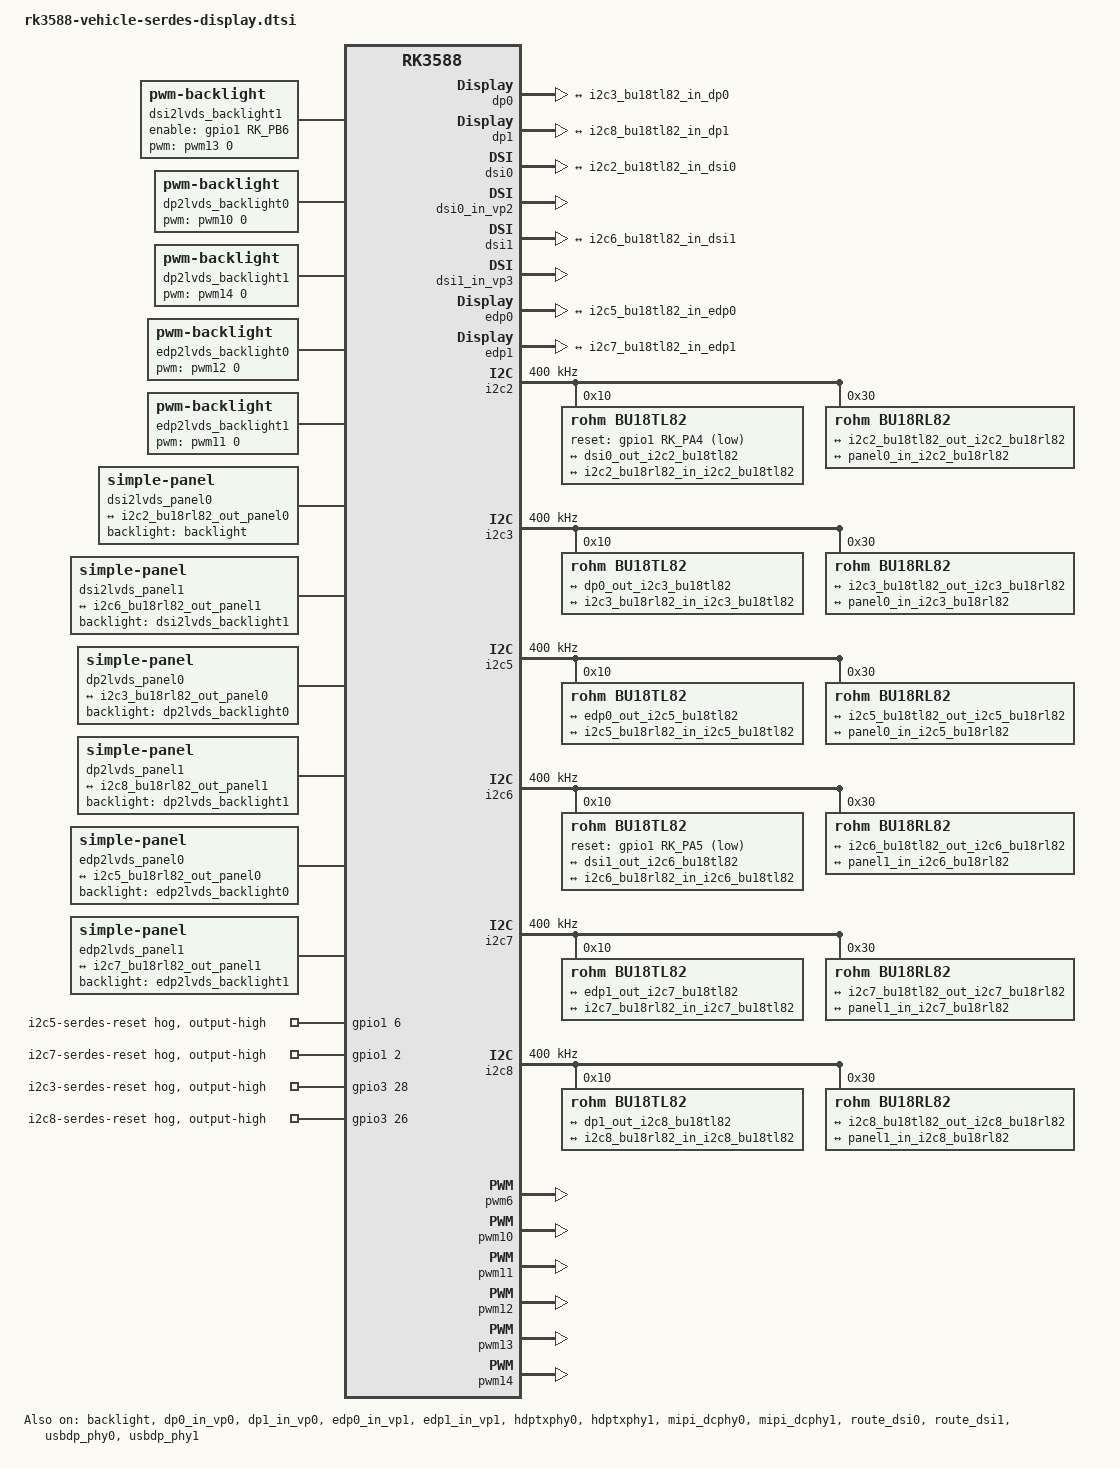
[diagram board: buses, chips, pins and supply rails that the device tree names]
// SPDX-License-Identifier: (GPL-2.0+ OR MIT)
/*
 * Copyright (c) 2022 Rockchip Electronics Co., Ltd.
 *
 */

/ {
	dsi2lvds_backlight1: dsi2lvds_backlight1 {
		compatible = "pwm-backlight";
		brightness-levels = <
			  0  20  20  21  21  22  22  23
			 23  24  24  25  25  26  26  27
			 27  28  28  29  29  30  30  31
			 31  32  32  33  33  34  34  35
			 35  36  36  37  37  38  38  39
			 40  41  42  43  44  45  46  47
			 48  49  50  51  52  53  54  55
			 56  57  58  59  60  61  62  63
			 64  65  66  67  68  69  70  71
			 72  73  74  75  76  77  78  79
			 80  81  82  83  84  85  86  87
			 88  89  90  91  92  93  94  95
			 96  97  98  99 100 101 102 103
			104 105 106 107 108 109 110 111
			112 113 114 115 116 117 118 119
			120 121 122 123 124 125 126 127
			128 129 130 131 132 133 134 135
			136 137 138 139 140 141 142 143
			144 145 146 147 148 149 150 151
			152 153 154 155 156 157 158 159
			160 161 162 163 164 165 166 167
			168 169 170 171 172 173 174 175
			176 177 178 179 180 181 182 183
			184 185 186 187 188 189 190 191
			192 193 194 195 196 197 198 199
			200 201 202 203 204 205 206 207
			208 209 210 211 212 213 214 215
			216 217 218 219 220 221 222 223
			224 225 226 227 228 229 230 231
			232 233 234 235 236 237 238 239
			240 241 242 243 244 245 246 247
			248 249 250 251 252 253 254 255
		>;
		default-brightness-level = <200>;
	};

	dp2lvds_backlight0: dp2lvds_backlight0 {
		compatible = "pwm-backlight";
		brightness-levels = <
			  0  20  20  21  21  22  22  23
			 23  24  24  25  25  26  26  27
			 27  28  28  29  29  30  30  31
			 31  32  32  33  33  34  34  35
			 35  36  36  37  37  38  38  39
			 40  41  42  43  44  45  46  47
			 48  49  50  51  52  53  54  55
			 56  57  58  59  60  61  62  63
			 64  65  66  67  68  69  70  71
			 72  73  74  75  76  77  78  79
			 80  81  82  83  84  85  86  87
			 88  89  90  91  92  93  94  95
			 96  97  98  99 100 101 102 103
			104 105 106 107 108 109 110 111
			112 113 114 115 116 117 118 119
			120 121 122 123 124 125 126 127
			128 129 130 131 132 133 134 135
			136 137 138 139 140 141 142 143
			144 145 146 147 148 149 150 151
			152 153 154 155 156 157 158 159
			160 161 162 163 164 165 166 167
			168 169 170 171 172 173 174 175
			176 177 178 179 180 181 182 183
			184 185 186 187 188 189 190 191
			192 193 194 195 196 197 198 199
			200 201 202 203 204 205 206 207
			208 209 210 211 212 213 214 215
			216 217 218 219 220 221 222 223
			224 225 226 227 228 229 230 231
			232 233 234 235 236 237 238 239
			240 241 242 243 244 245 246 247
			248 249 250 251 252 253 254 255
		>;
		default-brightness-level = <200>;
	};

	dp2lvds_backlight1: dp2lvds_backlight1 {
		compatible = "pwm-backlight";
		brightness-levels = <
			  0  20  20  21  21  22  22  23
			 23  24  24  25  25  26  26  27
			 27  28  28  29  29  30  30  31
			 31  32  32  33  33  34  34  35
			 35  36  36  37  37  38  38  39
			 40  41  42  43  44  45  46  47
			 48  49  50  51  52  53  54  55
			 56  57  58  59  60  61  62  63
			 64  65  66  67  68  69  70  71
			 72  73  74  75  76  77  78  79
			 80  81  82  83  84  85  86  87
			 88  89  90  91  92  93  94  95
			 96  97  98  99 100 101 102 103
			104 105 106 107 108 109 110 111
			112 113 114 115 116 117 118 119
			120 121 122 123 124 125 126 127
			128 129 130 131 132 133 134 135
			136 137 138 139 140 141 142 143
			144 145 146 147 148 149 150 151
			152 153 154 155 156 157 158 159
			160 161 162 163 164 165 166 167
			168 169 170 171 172 173 174 175
			176 177 178 179 180 181 182 183
			184 185 186 187 188 189 190 191
			192 193 194 195 196 197 198 199
			200 201 202 203 204 205 206 207
			208 209 210 211 212 213 214 215
			216 217 218 219 220 221 222 223
			224 225 226 227 228 229 230 231
			232 233 234 235 236 237 238 239
			240 241 242 243 244 245 246 247
			248 249 250 251 252 253 254 255
		>;
		default-brightness-level = <200>;
	};

	edp2lvds_backlight0: edp2lvds_backlight0 {
		compatible = "pwm-backlight";
		brightness-levels = <
			  0  20  20  21  21  22  22  23
			 23  24  24  25  25  26  26  27
			 27  28  28  29  29  30  30  31
			 31  32  32  33  33  34  34  35
			 35  36  36  37  37  38  38  39
			 40  41  42  43  44  45  46  47
			 48  49  50  51  52  53  54  55
			 56  57  58  59  60  61  62  63
			 64  65  66  67  68  69  70  71
			 72  73  74  75  76  77  78  79
			 80  81  82  83  84  85  86  87
			 88  89  90  91  92  93  94  95
			 96  97  98  99 100 101 102 103
			104 105 106 107 108 109 110 111
			112 113 114 115 116 117 118 119
			120 121 122 123 124 125 126 127
			128 129 130 131 132 133 134 135
			136 137 138 139 140 141 142 143
			144 145 146 147 148 149 150 151
			152 153 154 155 156 157 158 159
			160 161 162 163 164 165 166 167
			168 169 170 171 172 173 174 175
			176 177 178 179 180 181 182 183
			184 185 186 187 188 189 190 191
			192 193 194 195 196 197 198 199
			200 201 202 203 204 205 206 207
			208 209 210 211 212 213 214 215
			216 217 218 219 220 221 222 223
			224 225 226 227 228 229 230 231
			232 233 234 235 236 237 238 239
			240 241 242 243 244 245 246 247
			248 249 250 251 252 253 254 255
		>;
		default-brightness-level = <200>;
	};

	edp2lvds_backlight1: edp2lvds_backlight1 {
		compatible = "pwm-backlight";
		brightness-levels = <
			  0  20  20  21  21  22  22  23
			 23  24  24  25  25  26  26  27
			 27  28  28  29  29  30  30  31
			 31  32  32  33  33  34  34  35
			 35  36  36  37  37  38  38  39
			 40  41  42  43  44  45  46  47
			 48  49  50  51  52  53  54  55
			 56  57  58  59  60  61  62  63
			 64  65  66  67  68  69  70  71
			 72  73  74  75  76  77  78  79
			 80  81  82  83  84  85  86  87
			 88  89  90  91  92  93  94  95
			 96  97  98  99 100 101 102 103
			104 105 106 107 108 109 110 111
			112 113 114 115 116 117 118 119
			120 121 122 123 124 125 126 127
			128 129 130 131 132 133 134 135
			136 137 138 139 140 141 142 143
			144 145 146 147 148 149 150 151
			152 153 154 155 156 157 158 159
			160 161 162 163 164 165 166 167
			168 169 170 171 172 173 174 175
			176 177 178 179 180 181 182 183
			184 185 186 187 188 189 190 191
			192 193 194 195 196 197 198 199
			200 201 202 203 204 205 206 207
			208 209 210 211 212 213 214 215
			216 217 218 219 220 221 222 223
			224 225 226 227 228 229 230 231
			232 233 234 235 236 237 238 239
			240 241 242 243 244 245 246 247
			248 249 250 251 252 253 254 255
		>;
		default-brightness-level = <200>;
	};

	dsi2lvds_panel0 {
		compatible = "simple-panel";
		backlight = <&backlight>;

		display-timings {
			native-mode = <&dsi2lvds0>;
			dsi2lvds0: timing0 {
				clock-frequency = <87000000>;
				hactive = <1920>;
				vactive = <720>;
				hfront-porch = <32>;
				hsync-len = <10>;
				hback-porch = <22>;
				vfront-porch = <10>;
				vsync-len = <4>;
				vback-porch = <7>;
				hsync-active = <0>;
				vsync-active = <0>;
				de-active = <0>;
				pixelclk-active = <0>;
			};
		};

		ports {
			#address-cells = <1>;
			#size-cells = <0>;

			port@0 {
				reg = <0>;
				panel0_in_i2c2_bu18rl82: endpoint {
					remote-endpoint = <&i2c2_bu18rl82_out_panel0>;
				};
			};
		};
	};

	dsi2lvds_panel1 {
		compatible = "simple-panel";
		backlight = <&dsi2lvds_backlight1>;

		display-timings {
			native-mode = <&dsi2lvds1>;
			dsi2lvds1: timing0 {
				clock-frequency = <87000000>;
				hactive = <1920>;
				vactive = <720>;
				hfront-porch = <32>;
				hsync-len = <10>;
				hback-porch = <22>;
				vfront-porch = <10>;
				vsync-len = <4>;
				vback-porch = <7>;
				hsync-active = <0>;
				vsync-active = <0>;
				de-active = <0>;
				pixelclk-active = <0>;
			};
		};

		ports {
			#address-cells = <1>;
			#size-cells = <0>;

			port@0 {
				reg = <0>;
				panel1_in_i2c6_bu18rl82: endpoint {
					remote-endpoint = <&i2c6_bu18rl82_out_panel1>;
				};
			};
		};
	};

	dp2lvds_panel0 {
		compatible = "simple-panel";
		backlight = <&dp2lvds_backlight0>;
		prepare-delay-ms = <120>;
		enable-delay-ms = <120>;
		unprepare-delay-ms = <120>;
		disable-delay-ms = <120>;
		status = "okay";

		panel-timing {
			clock-frequency = <148500000>;
			hactive = <1920>;
			vactive = <1080>;
			hfront-porch = <140>;
			hsync-len = <40>;
			hback-porch = <100>;
			vfront-porch = <15>;
			vsync-len = <20>;
			vback-porch = <10>;
			hsync-active = <0>;
			vsync-active = <0>;
			de-active = <0>;
			pixelclk-active = <0>;
		};

		port {
			panel0_in_i2c3_bu18rl82: endpoint {
				remote-endpoint = <&i2c3_bu18rl82_out_panel0>;
			};
		};
	};

	dp2lvds_panel1 {
		compatible = "simple-panel";
		backlight = <&dp2lvds_backlight1>;
		prepare-delay-ms = <120>;
		enable-delay-ms = <120>;
		unprepare-delay-ms = <120>;
		disable-delay-ms = <120>;
		status = "okay";

		panel-timing {
			clock-frequency = <148500000>;
			hactive = <1920>;
			vactive = <1080>;
			hfront-porch = <140>;
			hsync-len = <40>;
			hback-porch = <100>;
			vfront-porch = <15>;
			vsync-len = <20>;
			vback-porch = <10>;
			hsync-active = <0>;
			vsync-active = <0>;
			de-active = <0>;
			pixelclk-active = <0>;
		};

		port {
			panel1_in_i2c8_bu18rl82: endpoint {
				remote-endpoint = <&i2c8_bu18rl82_out_panel1>;
			};
		};
	};

	edp2lvds_panel0 {
		compatible = "simple-panel";
		backlight = <&edp2lvds_backlight0>;
		prepare-delay-ms = <120>;
		enable-delay-ms = <120>;
		unprepare-delay-ms = <120>;
		disable-delay-ms = <120>;
		status = "okay";

		panel-timing {
			clock-frequency = <148500000>;
			hactive = <1920>;
			vactive = <1080>;
			hfront-porch = <140>;
			hsync-len = <40>;
			hback-porch = <100>;
			vfront-porch = <15>;
			vsync-len = <20>;
			vback-porch = <10>;
			hsync-active = <0>;
			vsync-active = <0>;
			de-active = <0>;
			pixelclk-active = <0>;
		};

		port {
			panel0_in_i2c5_bu18rl82: endpoint {
				remote-endpoint = <&i2c5_bu18rl82_out_panel0>;
			};
		};
	};

	edp2lvds_panel1 {
		compatible = "simple-panel";
		backlight = <&edp2lvds_backlight1>;
		prepare-delay-ms = <120>;
		enable-delay-ms = <120>;
		unprepare-delay-ms = <120>;
		disable-delay-ms = <120>;
		status = "okay";

		panel-timing {
			clock-frequency = <148500000>;
			hactive = <1920>;
			vactive = <1080>;
			hfront-porch = <140>;
			hsync-len = <40>;
			hback-porch = <100>;
			vfront-porch = <15>;
			vsync-len = <20>;
			vback-porch = <10>;
			hsync-active = <0>;
			vsync-active = <0>;
			de-active = <0>;
			pixelclk-active = <0>;
		};

		port {
			panel1_in_i2c7_bu18rl82: endpoint {
				remote-endpoint = <&i2c7_bu18rl82_out_panel1>;
			};
		};
	};
};

&backlight {
	pwms = <&pwm6 0 25000 0>;
	pinctrl-names = "default";
	pinctrl-0 = <&blk_enable_gpio>;
	enable-gpios = <&gpio1 RK_PA7 GPIO_ACTIVE_HIGH>;
	status = "okay";
};

&dsi2lvds_backlight1 {
	pwms = <&pwm13 0 25000 0>;
	pinctrl-names = "default";
	pinctrl-0 = <&blk1_enable_gpio>;
	enable-gpios = <&gpio1 RK_PB6 GPIO_ACTIVE_HIGH>;
	status = "okay";
};

&dp0 {
	split-mode;
	force-hpd;
	status = "okay";

	ports {
		port@1 {
			reg = <1>;

			dp0_out_i2c3_bu18tl82: endpoint {
				remote-endpoint = <&i2c3_bu18tl82_in_dp0>;
			};
		};
	};
};

&dp0_in_vp0 {
	status = "okay";
};

&dp0_in_vp1 {
	status = "disabled";
};

&dp0_in_vp2 {
	status = "disabled";
};

&dp1 {
	force-hpd;
	status = "okay";

	ports {
		port@1 {
			reg = <1>;

			dp1_out_i2c8_bu18tl82: endpoint {
				remote-endpoint = <&i2c8_bu18tl82_in_dp1>;
			};
		};
	};
};

&dp1_in_vp0 {
	status = "okay";
};

&dp1_in_vp1 {
	status = "disabled";
};

&dp1_in_vp2 {
	status = "disabled";
};

&dp2lvds_backlight0 {
	pwms = <&pwm10 0 25000 0>;
	status = "okay";
};

&dp2lvds_backlight1 {
	pwms = <&pwm14 0 25000 0>;
	status = "okay";
};

/*
 * mipi_dcphy0 needs to be enabled
 * when dsi0 is enabled
 */
&dsi0 {
	status = "okay";

	ports {
		#address-cells = <1>;
		#size-cells = <0>;

		port@1 {
			reg = <1>;

			dsi0_out_i2c2_bu18tl82: endpoint {
				remote-endpoint = <&i2c2_bu18tl82_in_dsi0>;
			};
		};
	};
};

&dsi0_in_vp2 {
	status = "okay";
};

&dsi0_in_vp3 {
	status = "disabled";
};

/*
 * mipi_dcphy1 needs to be enabled
 * when dsi1 is enabled
 */
&dsi1 {
	status = "okay";

	ports {
		#address-cells = <1>;
		#size-cells = <0>;

		port@1 {
			reg = <1>;

			dsi1_out_i2c6_bu18tl82: endpoint {
				remote-endpoint = <&i2c6_bu18tl82_in_dsi1>;
			};
		};
	};
};

&dsi1_in_vp2 {
	status = "disabled";
};

&dsi1_in_vp3 {
	status = "okay";
};

&edp0 {
	split-mode;
	force-hpd;
	status = "okay";

	ports {
		port@1 {
			reg = <1>;

			edp0_out_i2c5_bu18tl82: endpoint {
				remote-endpoint = <&i2c5_bu18tl82_in_edp0>;
			};
		};
	};
};

&edp0_in_vp0 {
	status = "disabled";
};

&edp0_in_vp1 {
	status = "okay";
};

&edp0_in_vp2 {
	status = "disabled";
};

&edp1 {
	force-hpd;
	status = "okay";

	ports {
		port@1 {
			reg = <1>;

			edp1_out_i2c7_bu18tl82: endpoint {
				remote-endpoint = <&i2c7_bu18tl82_in_edp1>;
			};
		};
	};
};

&edp1_in_vp0 {
	status = "disabled";
};

&edp1_in_vp1 {
	status = "okay";
};

&edp1_in_vp2 {
	status = "disabled";
};

&edp2lvds_backlight0 {
	pwms = <&pwm12 0 25000 0>;
	status = "okay";
};

&edp2lvds_backlight1 {
	pwms = <&pwm11 0 25000 0>;
	status = "okay";
};

&gpio1 {
	i2c5-serdes-reset {
		gpio-hog;
		gpios = <6 GPIO_ACTIVE_HIGH>;
		output-high;
	};

	i2c7-serdes-reset {
		gpio-hog;
		gpios = <2 GPIO_ACTIVE_HIGH>;
		output-high;
	};
};

&gpio3 {
	i2c3-serdes-reset {
		gpio-hog;
		gpios = <28 GPIO_ACTIVE_HIGH>;
		output-high;
	};

	i2c8-serdes-reset {
		gpio-hog;
		gpios = <26 GPIO_ACTIVE_HIGH>;
		output-high;
	};
};

&hdmi0 {
	status = "disabled";
};

&hdmi1 {
	status = "disabled";
};

&hdptxphy0 {
	status = "okay";
};

&hdptxphy1 {
	status = "okay";
};

&hdptxphy_hdmi0 {
	status = "disabled";
};

&hdptxphy_hdmi1 {
	status = "disabled";
};

&i2c2 {
	status = "okay";
	pinctrl-names = "default";
	pinctrl-0 = <&i2c2m4_xfer>;
	clock-frequency = <400000>;

	bu18tl82: bu18tl82@10 {
		compatible = "rohm,bu18tl82";
		reg = <0x10>;
		pinctrl-names = "default";
		pinctrl-0 = <&ser0_rst_gpio>;
		reset-gpios = <&gpio1 RK_PA4 GPIO_ACTIVE_LOW>;
		sel-mipi;
		status = "okay";

		serdes-init-sequence = [
			0021 0008
			0022 0008
			0023 0009
			0024 000a
			0013 0010
			0014 0010
			002a 0018
			002d 0018
			0030 0018
			0033 0018
			02a7 0002
			02a8 0003
			02a9 0004
			02aa 0005
			0045 0080
			0046 0007
			0047 0080
			0048 0007
			004b 00d0
			004c 0002
			004d 00d0
			004e 0002
			0051 0080
			0052 0007
			0053 0000
			0054 00c0
			022b 0076
			022c 0062
			022d 0037
			024d 0061
			0252 0005
			0253 0000
			0258 0000
			025c 0000
			025f 0000
			0274 0030
			0275 0020
			032b 002f
			032c 00a1
			032d 001d
			034d 0060
			0353 0000
			0358 0000
			035c 0000
			035f 0000
			0018 00a5
			0019 0069
			0267 003d
			0268 002c
			0269 002c
			026a 002c
			026b 002c
			0367 003d
			0368 002c
			0369 002c
			036a 002c
			036b 002c
			0013 0019
			0014 0001
			022e 0080
			0296 0004
			0297 000d
			032e 0080
			038e 0000
			0396 0004
			0397 000a
			0060 0001
			0061 0001
			0018 0000
			0019 0000
			/* TL82 Pattern Gen Set 1
			 * Horizontal Gray Scale 256 steps
			 */
			040A 0010
			040B 0080
			040C 0080
			040D 0080
			0444 0019
			0445 0020
			0446 001f
		];

		ports {
			#address-cells = <1>;
			#size-cells = <0>;

			port@0 {
				reg = <0>;

				i2c2_bu18tl82_in_dsi0: endpoint {
					remote-endpoint = <&dsi0_out_i2c2_bu18tl82>;
				};
			};

			port@1 {
				reg = <1>;

				i2c2_bu18tl82_out_i2c2_bu18rl82: endpoint {
					remote-endpoint = <&i2c2_bu18rl82_in_i2c2_bu18tl82>;
				};
			};
		};
	};

	bu18rl82: bu18rl82@30 {
		compatible = "rohm,bu18rl82";
		reg = <0x30>;
		status = "okay";
		serdes-init-sequence = [
			0011 000b
			0012 0002
			0013 0001
			001d 0008
			001f 0006
			0020 0006
			0057 0000
			0058 0002
			005a 0000
			005b 0003
			005d 0000
			005e 0001
			0060 0000
			0061 0005
			0073 0080
			0074 0007
			0075 0080
			0076 0007
			0079 0009
			007b 00d0
			007c 0002
			007d 00d0
			007e 0002
			0081 0003
			0082 000a
			0084 001e
			0086 0001
			0087 0003
			0088 0005
			0089 0014
			008b 0028
			008d 0002
			008e 0004
			008f 000f
			0090 0001
			0091 0003
			0423 00ab
			0424 00aa
			0425 001a
			0429 000a
			045d 0001
			0523 0097
			0524 00d0
			0525 000e
			0529 000a
			055d 0001
			0426 0080
			0526 0080
			/* RL82 Pattern Gen Set
			 * Vertical Gray Scale Color Bar
			 */
			060A 00B0
			060B 00FF
			060C 00FF
			060D 00FF
			0644 0019
			0645 0020
			0646 001f
		];

		ports {
			#address-cells = <1>;
			#size-cells = <0>;

			port@0 {
				reg = <0>;

				i2c2_bu18rl82_in_i2c2_bu18tl82: endpoint {
					remote-endpoint = <&i2c2_bu18tl82_out_i2c2_bu18rl82>;
				};
			};

			port@1 {
				reg = <1>;

				i2c2_bu18rl82_out_panel0: endpoint {
					remote-endpoint = <&panel0_in_i2c2_bu18rl82>;
				};
			};
		};
	};
};

&i2c3 {
	pinctrl-names = "default";
	pinctrl-0 = <&i2c3m2_xfer>;
	clock-frequency = <400000>;
	status = "okay";

	bu18tl82@10 {
		compatible = "rohm,bu18tl82";
		reg = <0x10>;
		status = "okay";

		serdes-init-sequence = [
			0013 001a
			0014 000a
			0021 0008
			0023 0003
			0024 0003
			002a 0018
			002d 0018
			0030 0018
			0033 0018
			0045 0080
			0046 0007
			004b 0038
			004c 0004
			0053 0064
			022b 0062
			022c 0027
			022d 002e
			0274 0030
			0275 0020
			0296 0004
			0297 000d
			02b2 00c8
			02b4 0001
			02b8 00ff
			02b9 000f
			02ba 00ff
			02bb 000f
			02be 00ff
			02bf 001f
			02c2 00ff
			02c3 001f
			0396 0004
			0397 000d
			03b2 00c8
			03b4 0001
			03b8 00ff
			03b9 000f
			03ba 00ff
			03bb 000f
			03be 00ff
			03bf 001f
			03c2 00ff
			03c3 001f
			0060 0001
			0061 0003
			022e 0080
			032e 0080
			/* TL82 Pattern Gen Set 1
			 * Horizontal Gray Scale 256 steps
			 */
			040A 0010
			040B 0080
			040C 0080
			040D 0080
			0444 0019
			0445 0020
			0446 001f
		];

		ports {
			#address-cells = <1>;
			#size-cells = <0>;

			port@0 {
				reg = <0>;

				i2c3_bu18tl82_in_dp0: endpoint {
					remote-endpoint = <&dp0_out_i2c3_bu18tl82>;
				};
			};

			port@1 {
				reg = <1>;

				i2c3_bu18tl82_out_i2c3_bu18rl82: endpoint {
					remote-endpoint = <&i2c3_bu18rl82_in_i2c3_bu18tl82>;
				};
			};
		};
	};

	bu18rl82@30 {
		compatible = "rohm,bu18rl82";
		reg = <0x30>;
		status = "okay";
		serdes-init-sequence = [
			0011 000b
			0012 0003
			0013 0001
			001d 0008
			001f 0002
			0020 0002
			0057 0000
			0058 0002
			005a 0000
			005b 0003
			005d 0000
			005e 0004
			0060 0000
			0061 0005
			0073 0080
			0074 0007
			0079 000a
			007b 0038
			007c 0004
			0081 0003
			0082 0010
			0084 0020
			0086 0002
			0087 0002
			0088 0010
			0089 0010
			008b 0020
			008d 0002
			008e 0002
			008f 0010
			00d0 0040
			00d8 0042
			00d9 0004
			0423 0002
			0424 00ec
			0425 0027
			0429 000a
			045d 0001
			0529 000a
			055d 0003
			0090 0001
			0091 0003
			0426 0080
			/* RL82 Pattern Gen Set
			 * Vertical Gray Scale Color Bar
			 */
			060A 00B0
			060B 00FF
			060C 00FF
			060D 00FF
			0644 0019
			0645 0020
			0646 001f
		];

		ports {
			#address-cells = <1>;
			#size-cells = <0>;

			port@0 {
				reg = <0>;

				i2c3_bu18rl82_in_i2c3_bu18tl82: endpoint {
					remote-endpoint = <&i2c3_bu18tl82_out_i2c3_bu18rl82>;
				};
			};

			port@1 {
				reg = <1>;

				i2c3_bu18rl82_out_panel0: endpoint {
					remote-endpoint = <&panel0_in_i2c3_bu18rl82>;
				};
			};
		};
	};
};

&i2c5 {
	clock-frequency = <400000>;
	status = "okay";

	bu18tl82@10 {
		compatible = "rohm,bu18tl82";
		reg = <0x10>;
		status = "okay";

		serdes-init-sequence = [
			0013 001a
			0014 000a
			0021 0008
			0023 0003
			0024 0003
			002a 0018
			002d 0018
			0030 0018
			0033 0018
			0045 0080
			0046 0007
			004b 0038
			004c 0004
			0053 0064
			022b 0062
			022c 0027
			022d 002e
			0274 0030
			0275 0020
			0296 0004
			0297 000d
			02b2 00c8
			02b4 0001
			02b8 00ff
			02b9 000f
			02ba 00ff
			02bb 000f
			02be 00ff
			02bf 001f
			02c2 00ff
			02c3 001f
			0396 0004
			0397 000d
			03b2 00c8
			03b4 0001
			03b8 00ff
			03b9 000f
			03ba 00ff
			03bb 000f
			03be 00ff
			03bf 001f
			03c2 00ff
			03c3 001f
			0060 0001
			0061 0003
			022e 0080
			032e 0080
			/* TL82 Pattern Gen Set 1
			 * Horizontal Gray Scale 256 steps
			 */
			040A 0010
			040B 0080
			040C 0080
			040D 0080
			0444 0019
			0445 0020
			0446 001f
		];

		ports {
			#address-cells = <1>;
			#size-cells = <0>;

			port@0 {
				reg = <0>;

				i2c5_bu18tl82_in_edp0: endpoint {
					remote-endpoint = <&edp0_out_i2c5_bu18tl82>;
				};
			};

			port@1 {
				reg = <1>;

				i2c5_bu18tl82_out_i2c5_bu18rl82: endpoint {
					remote-endpoint = <&i2c5_bu18rl82_in_i2c5_bu18tl82>;
				};
			};
		};
	};

	bu18rl82@30 {
		compatible = "rohm,bu18rl82";
		reg = <0x30>;
		status = "okay";
		serdes-init-sequence = [
			0011 000b
			0012 0003
			0013 0001
			001d 0008
			001f 0002
			0020 0002
			0057 0000
			0058 0002
			005a 0000
			005b 0003
			005d 0000
			005e 0004
			0060 0000
			0061 0005
			0073 0080
			0074 0007
			0079 000a
			007b 0038
			007c 0004
			0081 0003
			0082 0010
			0084 0020
			0086 0002
			0087 0002
			0088 0010
			0089 0010
			008b 0020
			008d 0002
			008e 0002
			008f 0010
			00d0 0040
			00d8 0042
			00d9 0004
			0423 0002
			0424 00ec
			0425 0027
			0429 000a
			045d 0001
			0529 000a
			055d 0003
			0090 0001
			0091 0003
			0426 0080
			/* RL82 Pattern Gen Set
			 * Vertical Gray Scale Color Bar
			 */
			060A 00B0
			060B 00FF
			060C 00FF
			060D 00FF
			0644 0019
			0645 0020
			0646 001f
		];

		ports {
			#address-cells = <1>;
			#size-cells = <0>;

			port@0 {
				reg = <0>;

				i2c5_bu18rl82_in_i2c5_bu18tl82: endpoint {
					remote-endpoint = <&i2c5_bu18tl82_out_i2c5_bu18rl82>;
				};
			};

			port@1 {
				reg = <1>;

				i2c5_bu18rl82_out_panel0: endpoint {
					remote-endpoint = <&panel0_in_i2c5_bu18rl82>;
				};
			};
		};
	};
};

&i2c6 {
	status = "okay";
	pinctrl-names = "default";
	pinctrl-0 = <&i2c6m3_xfer>;
	clock-frequency = <400000>;

	bu18tl82@10 {
		compatible = "rohm,bu18tl82";
		reg = <0x10>;
		pinctrl-names = "default";
		pinctrl-0 = <&ser1_rst_gpio>;
		reset-gpios = <&gpio1 RK_PA5 GPIO_ACTIVE_LOW>;
		sel-mipi;
		status = "okay";
		serdes-init-sequence = [
			0021 0008
			0022 0008
			0023 0009
			0024 000a
			0013 0010
			0014 0010
			002a 0018
			002d 0018
			0030 0018
			0033 0018
			027c 0070
			027d 0070
			02a7 0002
			02a8 0003
			02a9 0004
			02aa 0005
			0045 0080
			0046 0007
			0047 0080
			0048 0007
			004b 00d0
			004c 0002
			004d 00d0
			004e 0002
			0051 0080
			0052 0007
			0053 0000
			0054 00c0
			022b 0076
			022c 0062
			022d 0037
			024d 0061
			0252 0005
			0253 0000
			0258 0000
			025c 0000
			025f 0000
			0274 0030
			0275 0020
			032b 002f
			032c 00a1
			032d 001d
			034d 0060
			0353 0000
			0358 0000
			035c 0000
			035f 0000
			0018 00a5
			0019 0069
			0267 003d
			0268 002c
			0269 002c
			026a 002c
			026b 002c
			0367 003d
			0368 002c
			0369 002c
			036a 002c
			036b 002c
			0013 0019
			0014 0001
			022e 0080
			0296 0004
			0297 000d
			032e 0080
			038e 0000
			0396 0004
			0397 000a
			0060 0001
			0061 0001
			0018 0000
			0019 0000
			/* TL82 Pattern Gen Set 1
			 * Horizontal Gray Scale 256 steps
			 */
			040A 0010
			040B 0080
			040C 0080
			040D 0080
			0444 0019
			0445 0020
			0446 001f
		];

		ports {
			#address-cells = <1>;
			#size-cells = <0>;

			port@0 {
				reg = <0>;

				i2c6_bu18tl82_in_dsi1: endpoint {
					remote-endpoint = <&dsi1_out_i2c6_bu18tl82>;
				};
			};

			port@1 {
				reg = <1>;

				i2c6_bu18tl82_out_i2c6_bu18rl82: endpoint {
					remote-endpoint = <&i2c6_bu18rl82_in_i2c6_bu18tl82>;
				};
			};
		};
	};

	bu18rl82@30 {
		compatible = "rohm,bu18rl82";
		reg = <0x30>;
		status = "okay";
		serdes-init-sequence = [
			0011 000b
			0012 0002
			0013 0001
			001d 0008
			001f 0006
			0020 0006
			0031 0070
			0032 0038
			0057 0000
			0058 0002
			005a 0000
			005b 0003
			005d 0000
			005e 0001
			0060 0000
			0061 0005
			0073 0080
			0074 0007
			0075 0080
			0076 0007
			0079 0009
			007b 00d0
			007c 0002
			007d 00d0
			007e 0002
			0081 0003
			0082 000a
			0084 001e
			0086 0001
			0087 0003
			0088 0005
			0089 0014
			008b 0028
			008d 0002
			008e 0004
			008f 000f
			0090 0001
			0091 0003
			0423 00ab
			0424 00aa
			0425 001a
			0429 000a
			045d 0001
			0523 0097
			0524 00d0
			0525 000e
			0529 000a
			055d 0001
			0426 0080
			0526 0080
			/* RL82 Pattern Gen Set
			 * Vertical Gray Scale Color Bar
			 */
			060A 00B0
			060B 00FF
			060C 00FF
			060D 00FF
			0644 0019
			0645 0020
			0646 001f
		];

		ports {
			#address-cells = <1>;
			#size-cells = <0>;

			port@0 {
				reg = <0>;

				i2c6_bu18rl82_in_i2c6_bu18tl82: endpoint {
					remote-endpoint = <&i2c6_bu18tl82_out_i2c6_bu18rl82>;
				};
			};

			port@1 {
				reg = <1>;

				i2c6_bu18rl82_out_panel1: endpoint {
					remote-endpoint = <&panel1_in_i2c6_bu18rl82>;
				};
			};
		};
	};
};

&i2c7 {
	pinctrl-names = "default";
	pinctrl-0 = <&i2c7m3_xfer>;
	clock-frequency = <400000>;
	status = "okay";

	bu18tl82@10 {
		compatible = "rohm,bu18tl82";
		reg = <0x10>;
		status = "okay";

		serdes-init-sequence = [
			0013 001a
			0014 000a
			0021 0008
			0023 0003
			0024 0003
			002a 0018
			002d 0018
			0030 0018
			0033 0018
			0045 0080
			0046 0007
			004b 0038
			004c 0004
			0053 0064
			022b 0062
			022c 0027
			022d 002e
			0274 0030
			0275 0020
			0296 0004
			0297 000d
			02b2 00c8
			02b4 0001
			02b8 00ff
			02b9 000f
			02ba 00ff
			02bb 000f
			02be 00ff
			02bf 001f
			02c2 00ff
			02c3 001f
			0396 0004
			0397 000d
			03b2 00c8
			03b4 0001
			03b8 00ff
			03b9 000f
			03ba 00ff
			03bb 000f
			03be 00ff
			03bf 001f
			03c2 00ff
			03c3 001f
			0060 0001
			0061 0003
			022e 0080
			032e 0080
			/* TL82 Pattern Gen Set 1
			 * Horizontal Gray Scale 256 steps
			 */
			040A 0010
			040B 0080
			040C 0080
			040D 0080
			0444 0019
			0445 0020
			0446 001f
		];

		ports {
			#address-cells = <1>;
			#size-cells = <0>;

			port@0 {
				reg = <0>;

				i2c7_bu18tl82_in_edp1: endpoint {
					remote-endpoint = <&edp1_out_i2c7_bu18tl82>;
				};
			};

			port@1 {
				reg = <1>;

				i2c7_bu18tl82_out_i2c7_bu18rl82: endpoint {
					remote-endpoint = <&i2c7_bu18rl82_in_i2c7_bu18tl82>;
				};
			};
		};
	};

	bu18rl82@30 {
		compatible = "rohm,bu18rl82";
		reg = <0x30>;
		status = "okay";
		serdes-init-sequence = [
			0011 000b
			0012 0003
			0013 0001
			001d 0008
			001f 0002
			0020 0002
			0057 0000
			0058 0002
			005a 0000
			005b 0003
			005d 0000
			005e 0004
			0060 0000
			0061 0005
			0073 0080
			0074 0007
			0079 000a
			007b 0038
			007c 0004
			0081 0003
			0082 0010
			0084 0020
			0086 0002
			0087 0002
			0088 0010
			0089 0010
			008b 0020
			008d 0002
			008e 0002
			008f 0010
			00d0 0040
			00d8 0042
			00d9 0004
			0423 0002
			0424 00ec
			0425 0027
			0429 000a
			045d 0001
			0529 000a
			055d 0003
			0090 0001
			0091 0003
			0426 0080
			/* RL82 Pattern Gen Set
			 * Vertical Gray Scale Color Bar
			 */
			060A 00B0
			060B 00FF
			060C 00FF
			060D 00FF
			0644 0019
			0645 0020
			0646 001f
		];

		ports {
			#address-cells = <1>;
			#size-cells = <0>;

			port@0 {
				reg = <0>;

				i2c7_bu18rl82_in_i2c7_bu18tl82: endpoint {
					remote-endpoint = <&i2c7_bu18tl82_out_i2c7_bu18rl82>;
				};
			};

			port@1 {
				reg = <1>;

				i2c7_bu18rl82_out_panel1: endpoint {
					remote-endpoint = <&panel1_in_i2c7_bu18rl82>;
				};
			};
		};
	};
};

&i2c8 {
	pinctrl-names = "default";
	pinctrl-0 = <&i2c8m2_xfer>;
	clock-frequency = <400000>;
	status = "okay";

	bu18tl82@10 {
		compatible = "rohm,bu18tl82";
		reg = <0x10>;
		status = "okay";

		serdes-init-sequence = [
			0013 001a
			0014 000a
			0021 0008
			0023 0003
			0024 0003
			002a 0018
			002d 0018
			0030 0018
			0033 0018
			0045 0080
			0046 0007
			004b 0038
			004c 0004
			0053 0064
			022b 0062
			022c 0027
			022d 002e
			0274 0030
			0275 0020
			0296 0004
			0297 000d
			02b2 00c8
			02b4 0001
			02b8 00ff
			02b9 000f
			02ba 00ff
			02bb 000f
			02be 00ff
			02bf 001f
			02c2 00ff
			02c3 001f
			0396 0004
			0397 000d
			03b2 00c8
			03b4 0001
			03b8 00ff
			03b9 000f
			03ba 00ff
			03bb 000f
			03be 00ff
			03bf 001f
			03c2 00ff
			03c3 001f
			0060 0001
			0061 0003
			022e 0080
			032e 0080
			/* TL82 Pattern Gen Set 1
			 * Horizontal Gray Scale 256 steps
			 */
			040A 0010
			040B 0080
			040C 0080
			040D 0080
			0444 0019
			0445 0020
			0446 001f
		];

		ports {
			#address-cells = <1>;
			#size-cells = <0>;

			port@0 {
				reg = <0>;

				i2c8_bu18tl82_in_dp1: endpoint {
					remote-endpoint = <&dp1_out_i2c8_bu18tl82>;
				};
			};

			port@1 {
				reg = <1>;

				i2c8_bu18tl82_out_i2c8_bu18rl82: endpoint {
					remote-endpoint = <&i2c8_bu18rl82_in_i2c8_bu18tl82>;
				};
			};
		};
	};

	bu18rl82@30 {
		compatible = "rohm,bu18rl82";
		reg = <0x30>;
		status = "okay";
		serdes-init-sequence = [
			0011 000b
			0012 0003
			0013 0001
			001d 0008
			001f 0002
			0020 0002
			0057 0000
			0058 0002
			005a 0000
			005b 0003
			005d 0000
			005e 0004
			0060 0000
			0061 0005
			0073 0080
			0074 0007
			0079 000a
			007b 0038
			007c 0004
			0081 0003
			0082 0010
			0084 0020
			0086 0002
			0087 0002
			0088 0010
			0089 0010
			008b 0020
			008d 0002
			008e 0002
			008f 0010
			00d0 0040
			00d8 0042
			00d9 0004
			0423 0002
			0424 00ec
			0425 0027
			0429 000a
			045d 0001
			0529 000a
			055d 0003
			0090 0001
			0091 0003
			0426 0080
			/* RL82 Pattern Gen Set
			 * Vertical Gray Scale Color Bar
			 */
			060A 00B0
			060B 00FF
			060C 00FF
			060D 00FF
			0644 0019
			0645 0020
			0646 001f
		];

		ports {
			#address-cells = <1>;
			#size-cells = <0>;

			port@0 {
				reg = <0>;

				i2c8_bu18rl82_in_i2c8_bu18tl82: endpoint {
					remote-endpoint = <&i2c8_bu18tl82_out_i2c8_bu18rl82>;
				};
			};

			port@1 {
				reg = <1>;

				i2c8_bu18rl82_out_panel1: endpoint {
					remote-endpoint = <&panel1_in_i2c8_bu18rl82>;
				};
			};
		};
	};
};

&mipi_dcphy0 {
	status = "okay";
};

&mipi_dcphy1 {
	status = "okay";
};


&pinctrl {

	blk {
		blk_enable_gpio: blk-enable-gpio {
			rockchip,pins = <1 RK_PA7 RK_FUNC_GPIO &pcfg_pull_none>;
		};

		blk1_enable_gpio: blk1-enable-gpio {
			rockchip,pins = <1 RK_PB6 RK_FUNC_GPIO &pcfg_pull_none>;
		};
	};

	serdes {
		ser0_rst_gpio: ser0-rst-gpio {
			rockchip,pins = <1 RK_PA4 RK_FUNC_GPIO &pcfg_pull_none>;
		};

		ser1_rst_gpio: ser1-rst-gpio {
			rockchip,pins = <1 RK_PA5 RK_FUNC_GPIO &pcfg_pull_none>;
		};
	};
};

/* dsi0->serdes->lvds_panel */
&pwm6 {
	status = "okay";
	pinctrl-0 = <&pwm6m1_pins>;
};

/* dp0->serdes->lvds_panel */
&pwm10 {
	pinctrl-0 = <&pwm10m2_pins>;
	status = "okay";
};

/* edp1->serdes->lvds_panel */
&pwm11 {
	pinctrl-0 = <&pwm11m3_pins>;
	status = "okay";
};

/* edp0->serdes->lvds_panel */
&pwm12 {
	pinctrl-0 = <&pwm12m1_pins>;
	status = "okay";
};

/* dsi1->serdes->lvds_panel */
&pwm13 {
	status = "okay";
	pinctrl-0 = <&pwm13m1_pins>;
};

/* dp1->serdes->lvds_panel */
&pwm14 {
	pinctrl-0 = <&pwm14m0_pins>;
	status = "okay";
};

&route_dp0 {
	status = "disabled";
	connect = <&vp0_out_dp0>;
	logo,uboot = "logo34.bmp";
	logo,kernel = "logo34.bmp";
};

&route_dp1 {
	status = "disabled";
	connect = <&vp0_out_dp1>;
	logo,uboot = "logo34.bmp";
	logo,kernel = "logo34.bmp";
};

&route_dsi0 {
	status = "okay";
	connect = <&vp2_out_dsi0>;
	logo,uboot = "logo1.bmp";
	logo,kernel = "logo1.bmp";
};

&route_dsi1 {
	status = "okay";
	connect = <&vp3_out_dsi1>;
	logo,uboot = "logo2.bmp";
	logo,kernel = "logo2.bmp";
};

&route_edp0 {
	status = "disabled";
	connect = <&vp1_out_edp0>;
	logo,uboot = "logo56.bmp";
	logo,kernel = "logo56.bmp";
};

&route_edp1 {
	status = "disabled";
	connect = <&vp1_out_edp1>;
	logo,uboot = "logo56.bmp";
	logo,kernel = "logo56.bmp";
};

&usbdp_phy0 {
	rockchip,dp-lane-mux = <0 1 2 3>;
	status = "okay";
};

&usbdp_phy1 {
	rockchip,dp-lane-mux = <0 1 2 3>;
	status = "okay";
};
